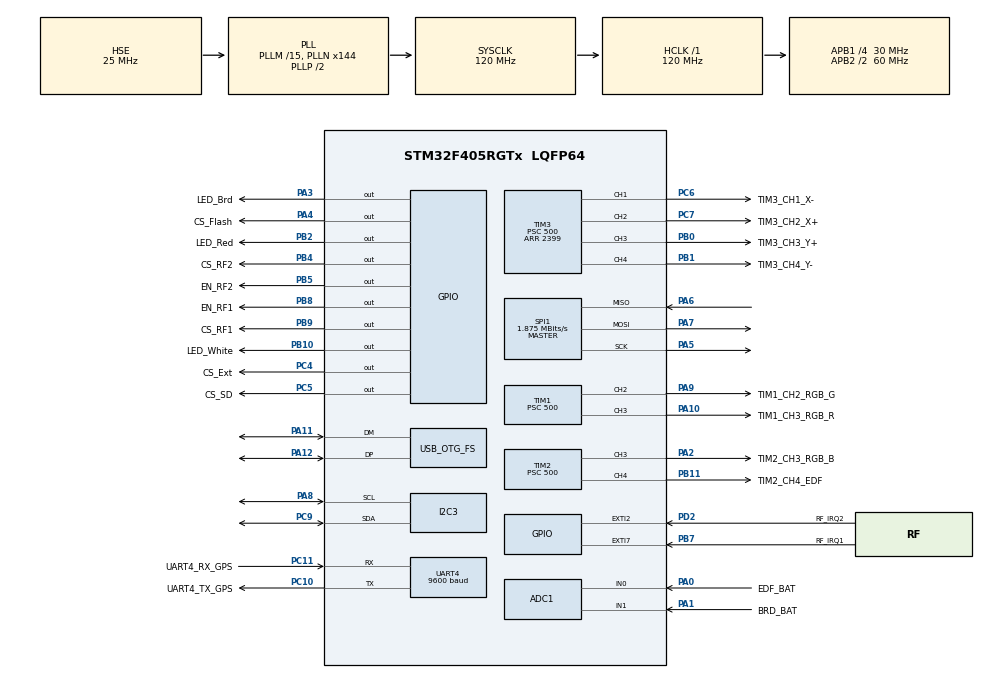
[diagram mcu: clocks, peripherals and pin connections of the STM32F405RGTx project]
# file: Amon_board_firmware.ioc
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ADC1.Channel-2\#ChannelRegularConversion=ADC_CHANNEL_0
ADC1.Channel-3\#ChannelRegularConversion=ADC_CHANNEL_1
ADC1.ClockPrescaler=ADC_CLOCK_SYNC_PCLK_DIV8
ADC1.ContinuousConvMode=ENABLE
ADC1.NbrOfConversion=2
ADC1.NbrOfConversionFlag=1
ADC1.Rank-2\#ChannelRegularConversion=1
ADC1.Rank-3\#ChannelRegularConversion=2
ADC1.SamplingTime-2\#ChannelRegularConversion=ADC_SAMPLETIME_3CYCLES
ADC1.SamplingTime-3\#ChannelRegularConversion=ADC_SAMPLETIME_3CYCLES
ADC1.master=1
Dma.ADC1.0.Direction=DMA_PERIPH_TO_MEMORY
Dma.ADC1.0.FIFOMode=DMA_FIFOMODE_DISABLE
Dma.ADC1.0.Instance=DMA2_Stream0
Dma.ADC1.0.MemDataAlignment=DMA_MDATAALIGN_WORD
Dma.ADC1.0.MemInc=DMA_MINC_ENABLE
Dma.ADC1.0.Mode=DMA_CIRCULAR
Dma.ADC1.0.PeriphDataAlignment=DMA_PDATAALIGN_WORD
Dma.ADC1.0.PeriphInc=DMA_PINC_DISABLE
Dma.ADC1.0.Priority=DMA_PRIORITY_LOW
Dma.Request0=ADC1
Dma.Request1=UART4_RX
Dma.UART4_RX.1.Direction=DMA_PERIPH_TO_MEMORY
Dma.UART4_RX.1.FIFOMode=DMA_FIFOMODE_DISABLE
Dma.UART4_RX.1.Instance=DMA1_Stream2
Dma.UART4_RX.1.MemDataAlignment=DMA_MDATAALIGN_BYTE
Dma.UART4_RX.1.MemInc=DMA_MINC_ENABLE
Dma.UART4_RX.1.Mode=DMA_NORMAL
Dma.UART4_RX.1.PeriphDataAlignment=DMA_PDATAALIGN_BYTE
Dma.UART4_RX.1.PeriphInc=DMA_PINC_DISABLE
Dma.UART4_RX.1.Priority=DMA_PRIORITY_LOW
Mcu.Family=STM32F4
Mcu.Name=STM32F405RGTx
Mcu.Package=LQFP64
NVIC.DMA1_Stream2_IRQn=true\:0\:0\:false\:false\:true\:false\:true\:true
NVIC.DMA2_Stream0_IRQn=true\:0\:0\:false\:false\:true\:false\:true\:true
NVIC.EXTI9_5_IRQn=true\:4\:0\:true\:false\:true\:true\:true\:true
NVIC.OTG_FS_IRQn=true\:4\:0\:true\:false\:true\:false\:true\:true
NVIC.PriorityGroup=NVIC_PRIORITYGROUP_4
NVIC.TIM4_IRQn=true\:1\:0\:true\:false\:true\:true\:true\:true
NVIC.TIM5_IRQn=true\:0\:0\:false\:false\:true\:true\:true\:true
NVIC.UART4_IRQn=true\:2\:0\:true\:false\:true\:true\:true\:true
PA0-WKUP.GPIO_Label=EDF_BAT
PA0-WKUP.Signal=ADCx_IN0
PA1.GPIO_Label=BRD_BAT
PA1.Signal=ADCx_IN1
PA10.GPIO_Label=TIM1_CH3_RGB_R
PA10.Signal=S_TIM1_CH3
PA11.Mode=Device_Only
PA11.Signal=USB_OTG_FS_DM
PA12.Mode=Device_Only
PA12.Signal=USB_OTG_FS_DP
PA13.Mode=Trace_Asynchronous_SW
PA13.Signal=SYS_JTMS-SWDIO
PA14.Mode=Trace_Asynchronous_SW
PA14.Signal=SYS_JTCK-SWCLK
PA2.GPIO_Label=TIM2_CH3_RGB_B
PA2.Signal=S_TIM2_CH3
PA3.GPIO_Label=LED_Brd
PA3.Signal=GPIO_Output
PA4.GPIO_Label=CS_Flash
PA4.Signal=GPIO_Output
PA5.Mode=Full_Duplex_Master
PA5.Signal=SPI1_SCK
PA6.Mode=Full_Duplex_Master
PA6.Signal=SPI1_MISO
PA7.Mode=Full_Duplex_Master
PA7.Signal=SPI1_MOSI
PA8.Mode=I2C
PA8.Signal=I2C3_SCL
PA9.GPIO_Label=TIM1_CH2_RGB_G
PA9.Signal=S_TIM1_CH2
PB0.GPIO_Label=TIM3_CH3_Y+
PB0.Signal=S_TIM3_CH3
PB1.GPIO_Label=TIM3_CH4_Y-
PB1.Signal=S_TIM3_CH4
PB10.GPIO_Label=LED_White
PB10.Signal=GPIO_Output
PB11.GPIO_Label=TIM2_CH4_EDF
PB11.Signal=S_TIM2_CH4
PB2.GPIO_Label=LED_Red
PB2.Signal=GPIO_Output
PB3.Mode=Trace_Asynchronous_SW
PB3.Signal=SYS_JTDO-SWO
PB4.GPIO_Label=CS_RF2
PB4.Signal=GPIO_Output
PB5.GPIO_Label=EN_RF2
PB5.Signal=GPIO_Output
PB7.GPIO_Label=RF_IRQ1
PB7.GPIO_ModeDefaultEXTI=GPIO_MODE_IT_RISING
PB7.Signal=GPXTI7
PB8.GPIO_Label=EN_RF1
PB8.Signal=GPIO_Output
PB9.GPIO_Label=CS_RF1
PB9.Signal=GPIO_Output
PC10.GPIO_Label=UART4_TX_GPS
PC10.Mode=Asynchronous
PC10.Signal=UART4_TX
PC11.GPIO_Label=UART4_RX_GPS
PC11.Mode=Asynchronous
PC11.Signal=UART4_RX
PC4.GPIO_Label=CS_Ext
PC4.Signal=GPIO_Output
PC5.GPIO_Label=CS_SD
PC5.Signal=GPIO_Output
PC6.GPIO_Label=TIM3_CH1_X-
PC6.Signal=S_TIM3_CH1
PC7.GPIO_Label=TIM3_CH2_X+
PC7.Signal=S_TIM3_CH2
PC9.Mode=I2C
PC9.Signal=I2C3_SDA
PD2.GPIO_Label=RF_IRQ2
PD2.Signal=GPXTI2
PH0-OSC_IN.Mode=HSE-External-Oscillator
PH0-OSC_IN.Signal=RCC_OSC_IN
PH1-OSC_OUT.Mode=HSE-External-Oscillator
PH1-OSC_OUT.Signal=RCC_OSC_OUT
ProjectManager.HeapSize=0x200
ProjectManager.StackSize=0x400
ProjectManager.TargetToolchain=STM32CubeIDE
RCC.48MHZClocksFreq_Value=48000000
RCC.AHBFreq_Value=120000000
RCC.APB1CLKDivider=RCC_HCLK_DIV4
RCC.APB1Freq_Value=30000000
RCC.APB1TimFreq_Value=60000000
RCC.APB2CLKDivider=RCC_HCLK_DIV2
RCC.APB2Freq_Value=60000000
RCC.APB2TimFreq_Value=120000000
RCC.CortexFreq_Value=120000000
RCC.HCLKFreq_Value=120000000
RCC.HSE_VALUE=25000000
RCC.HSI_VALUE=16000000
RCC.LSE_VALUE=32768
RCC.PLLM=15
RCC.PLLN=144
RCC.PLLQ=5
RCC.SYSCLKFreq_VALUE=120000000
RCC.SYSCLKSource=RCC_SYSCLKSOURCE_PLLCLK
RCC.VCOOutputFreq_Value=240000000
SH.ADCx_IN0.0=ADC1_IN0,IN0
SH.ADCx_IN1.0=ADC1_IN1,IN1
SH.S_TIM1_CH2.0=TIM1_CH2,PWM Generation2 CH2
SH.S_TIM1_CH3.0=TIM1_CH3,PWM Generation3 CH3
SH.S_TIM2_CH3.0=TIM2_CH3,PWM Generation3 CH3
SH.S_TIM2_CH4.0=TIM2_CH4,PWM Generation4 CH4
SH.S_TIM3_CH1.0=TIM3_CH1,PWM Generation1 CH1
SH.S_TIM3_CH2.0=TIM3_CH2,PWM Generation2 CH2
SH.S_TIM3_CH3.0=TIM3_CH3,PWM Generation3 CH3
SH.S_TIM3_CH4.0=TIM3_CH4,PWM Generation4 CH4
SPI1.BaudRatePrescaler=SPI_BAUDRATEPRESCALER_32
SPI1.CalculateBaudRate=1.875 MBits/s
SPI1.Direction=SPI_DIRECTION_2LINES
SPI1.Mode=SPI_MODE_MASTER
SPI1.VirtualType=VM_MASTER
TIM1.AutoReloadPreload=TIM_AUTORELOAD_PRELOAD_ENABLE
TIM1.Channel-PWM\ Generation2\ CH2=TIM_CHANNEL_2
TIM1.Channel-PWM\ Generation3\ CH3=TIM_CHANNEL_3
TIM1.OCPolarity_2=TIM_OCPOLARITY_LOW
TIM1.OCPolarity_3=TIM_OCPOLARITY_LOW
TIM1.Period=2399
TIM1.Prescaler=500
TIM2.AutoReloadPreload=TIM_AUTORELOAD_PRELOAD_ENABLE
TIM2.Channel-PWM\ Generation3\ CH3=TIM_CHANNEL_3
TIM2.Channel-PWM\ Generation4\ CH4=TIM_CHANNEL_4
TIM2.OCPolarity_3=TIM_OCPOLARITY_LOW
TIM2.Period=2399
TIM2.Prescaler=500
TIM3.AutoReloadPreload=TIM_AUTORELOAD_PRELOAD_ENABLE
TIM3.Channel-PWM\ Generation1\ CH1=TIM_CHANNEL_1
TIM3.Channel-PWM\ Generation2\ CH2=TIM_CHANNEL_2
TIM3.Channel-PWM\ Generation3\ CH3=TIM_CHANNEL_3
TIM3.Channel-PWM\ Generation4\ CH4=TIM_CHANNEL_4
TIM3.Period=2399
TIM3.Prescaler=500
TIM4.AutoReloadPreload=TIM_AUTORELOAD_PRELOAD_ENABLE
TIM4.Period=2399
TIM4.Prescaler=500
TIM5.AutoReloadPreload=TIM_AUTORELOAD_PRELOAD_ENABLE
TIM5.Period=600
TIM5.Prescaler=500
TIM6.AutoReloadPreload=TIM_AUTORELOAD_PRELOAD_ENABLE
TIM6.Period=6000
TIM6.Prescaler=10000
UART4.BaudRate=9600
UART4.Mode=MODE_TX_RX
UART4.VirtualMode=Asynchronous
USB_DEVICE.CLASS_NAME_FS=CDC
USB_DEVICE.USBD_DEBUG_LEVEL-CDC_FS=3
USB_DEVICE.VirtualMode-CDC_FS=Cdc
USB_DEVICE.VirtualModeFS=Cdc_FS
USB_OTG_FS.VirtualMode=Device_Only
VP_FATFS_VS_Generic.Mode=User_defined
VP_TIM1_VS_ClockSourceINT.Mode=Internal
VP_TIM2_VS_ClockSourceINT.Mode=Internal
VP_TIM3_VS_ClockSourceINT.Mode=Internal
VP_TIM4_VS_ClockSourceINT.Mode=Internal
VP_TIM5_VS_ClockSourceINT.Mode=Internal
VP_TIM6_VS_ClockSourceINT.Mode=Enable_Timer
VP_USB_DEVICE_VS_USB_DEVICE_CDC_FS.Mode=CDC_FS
board=custom

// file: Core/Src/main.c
/* USER CODE BEGIN Header */
/**
  ******************************************************************************
  * @file           : main.c
  * @brief          : Main program body
  ******************************************************************************
  * @attention
  *
  * Copyright (c) 2022 STMicroelectronics.
  * All rights reserved.
  *
  * This software is licensed under terms that can be found in the LICENSE file
  * in the root directory of this software component.
  * If no LICENSE file comes with this software, it is provided AS-IS.
  *
  ******************************************************************************
  */
/* USER CODE END Header */
#include "main.h"
#include "fatfs.h"
#include "usb_device.h"

/* USER CODE BEGIN Includes */
//#include "usbd_cdc_if.h"

/* USER CODE END Includes */

ADC_HandleTypeDef hadc1;
DMA_HandleTypeDef hdma_adc1;

I2C_HandleTypeDef hi2c3;

SPI_HandleTypeDef hspi1;

TIM_HandleTypeDef htim1;
TIM_HandleTypeDef htim2;
TIM_HandleTypeDef htim3;
TIM_HandleTypeDef htim4;
TIM_HandleTypeDef htim5;
TIM_HandleTypeDef htim6;

UART_HandleTypeDef huart4;
DMA_HandleTypeDef hdma_uart4_rx;

void SystemClock_Config(void);
static void MX_GPIO_Init(void);
static void MX_DMA_Init(void);
static void MX_ADC1_Init(void);
static void MX_SPI1_Init(void);
static void MX_UART4_Init(void);
static void MX_TIM3_Init(void);
static void MX_I2C3_Init(void);
static void MX_TIM2_Init(void);
static void MX_TIM1_Init(void);
static void MX_TIM4_Init(void);
static void MX_TIM5_Init(void);
static void MX_TIM6_Init(void);

/* USER CODE BEGIN 0 */

/* Functions init */
uint16_t ADC_Read_Main_Battery();
uint16_t ADC_Read_EDF_Battery();
uint8_t TVCServoEnable();
uint8_t TVCServoDisable();
uint8_t EDFEnable();
uint8_t EDFDisable();
void StatusLED(uint8_t Status);

/* Variables */
uint8_t DroneStatusLocal = 0;
uint8_t DroneStatusOld = 20;
uint8_t StartupInit = 0;
uint8_t InitError = 0;

uint8_t LED_blink_cnt_ON;
uint8_t LED_blink_cnt_double;
uint8_t LED_blink_cnt_OFF;

uint8_t TVCServoEnableFlag = 0;
uint8_t EDFEnableFlag = 0;

uint8_t RF_IRQ1_EN = 0;			// flag to enable irq code
uint8_t RF_IRQ2_EN = 0;			// flag to enable irq code

float PitchDef[20] = {0};		// Default values for calculating angle before flight
float RollDef[20] = {0};
uint8_t MeassCnt = 0;			// counting measurements

// Gyroscope calibration
uint8_t GyroCalibTrig = 0;
uint16_t RGB_Red = 0;
uint16_t RGB_Green = 300;
uint16_t RGB_Blue = 600;
uint16_t RGB_RedMax = 0;
uint16_t RGB_GreenMax = 0;
uint16_t RGB_BlueMax = 0;

// Battery data
uint8_t ADC_DMA_DataRdy = 0;
uint32_t ADC_BAT_Val[2] = {};

// GPS data
uint8_t USART4_GPSRX[426] = {"\0"};
uint8_t NewGPSData = 0;

// Timers IRQ enable flag
uint8_t Reg1HzLoopEN = 0;
uint8_t Reg50HzLoopEN = 0;
uint8_t Reg200HzLoopEN = 0;

/* USER CODE END 0 */

int main(void)
{

  /* MCU Configuration--------------------------------------------------------*/

  /* Reset of all peripherals, Initializes the Flash interface and the Systick. */
  HAL_Init();

  /* Configure the system clock */
  SystemClock_Config();

  /* Initialize all configured peripherals */
  MX_GPIO_Init();
  MX_DMA_Init();
  MX_ADC1_Init();
  MX_SPI1_Init();
  MX_UART4_Init();
  MX_TIM3_Init();
  MX_I2C3_Init();
  MX_TIM2_Init();
  MX_TIM1_Init();
  MX_TIM4_Init();
  MX_USB_DEVICE_Init();
  MX_TIM5_Init();
  MX_FATFS_Init();
  MX_TIM6_Init();
  /* USER CODE BEGIN 2 */

  /* STRUCTS */
  MPU6050 mpu6050; // Temp, Press, Hum
  BME280 bme280; // Gyro

  AMON_Drone AmonDrone; // All drone data

  // Decoded GPS data for each type of packet
  GPS_GGA gps_gga;
  GPS_GLL gps_gll;
  GPS_GSA gps_gsa;
  GPS_GSV gps_gsv;
  GPS_RMC gps_rmc;
  GPS_VTG gps_vtg;

  VL53L1_DEV vl53l1Dev; // Lidar
  //VL53L1X_Version_t vl53l1xVersion_t; // Lidar - unused
  //VL53L1X_Result_t vl53l1xResult_t; // Lidar - unused

  /* Variables */

  // Init
  AmonDrone.DroneStatus = 0;
  AmonDrone.PitchOld = 0;
  AmonDrone.RollOld = 0;

  /* USER CODE END 2 */

  /* Infinite loop */
  /* USER CODE BEGIN WHILE */
  while (1)
  {

	  // Changing values when changing status
	  if (AmonDrone.DroneStatus != DroneStatusOld && CALIBRATION == 0)
	  {
		  DroneStatusOld = AmonDrone.DroneStatus;
		  DroneStatusLocal = AmonDrone.DroneStatus;
		  StatusLED(AmonDrone.DroneStatus);
	  }

	  // RGB cycling when calibrating
	  if (CALIBRATION == 1)
	  {
		  AmonDrone.DroneStatus = STATUS_GYRO_CALIB;
		  DroneStatusLocal = AmonDrone.DroneStatus;
	  }

	  /****************************
	   * INIT  SEQUENCE
	   ****************************/

	  if (StartupInit == STATUS_STARTUP)
	  {

		//AmonDrone.DroneStatus = STATUS_STARTUP;
		uint8_t status = 0;

		/* Aligne all motors */
		TVCServoEnable();
		DegresToCCR(90.0 + SERVO_XN_OFFSET, SERVO_XN);
		DegresToCCR(90.0 + SERVO_XP_OFFSET, SERVO_XP);
		DegresToCCR(90.0 + SERVO_YN_OFFSET, SERVO_YN);
		DegresToCCR(90.0 + SERVO_YP_OFFSET, SERVO_YP);
		HAL_Delay(500); // wait on motors to stop mooving

		DegresToCCR(80.0 + SERVO_XN_OFFSET, SERVO_XN);
		DegresToCCR(80.0 + SERVO_XP_OFFSET, SERVO_XP);
		DegresToCCR(80.0 + SERVO_YN_OFFSET, SERVO_YN);
		DegresToCCR(80.0 + SERVO_YP_OFFSET, SERVO_YP);
		HAL_Delay(500); // wait on motors to stop mooving

		DegresToCCR(90.0 + SERVO_XN_OFFSET, SERVO_XN);
		DegresToCCR(90.0 + SERVO_XP_OFFSET, SERVO_XP);
		DegresToCCR(90.0 + SERVO_YN_OFFSET, SERVO_YN);
		DegresToCCR(90.0 + SERVO_YP_OFFSET, SERVO_YP);
		HAL_Delay(500); // wait on motors to stop mooving

		DegresToCCR(100.0 + SERVO_XN_OFFSET, SERVO_XN);
		DegresToCCR(100.0 + SERVO_XP_OFFSET, SERVO_XP);
		DegresToCCR(100.0 + SERVO_YN_OFFSET, SERVO_YN);
		DegresToCCR(100.0 + SERVO_YP_OFFSET, SERVO_YP);
		HAL_Delay(500); // wait on motors to stop mooving

		DegresToCCR(90.0 + SERVO_XN_OFFSET, SERVO_XN);
		DegresToCCR(90.0 + SERVO_XP_OFFSET, SERVO_XP);
		DegresToCCR(90.0 + SERVO_YN_OFFSET, SERVO_YN);
		DegresToCCR(90.0 + SERVO_YP_OFFSET, SERVO_YP);
		HAL_Delay(500); // wait on motors to stop mooving

		// Start timers for sensors and LEDs
		HAL_GPIO_WritePin(LED_Red_GPIO_Port, LED_Red_Pin, GPIO_PIN_SET);
		HAL_GPIO_WritePin(LED_Brd_GPIO_Port, LED_Brd_Pin, GPIO_PIN_RESET);
		HAL_TIM_PWM_Start(&htim1, TIM_CHANNEL_2); // RGB (50Hz)
		HAL_TIM_PWM_Start(&htim1, TIM_CHANNEL_3); // RGB (50Hz)
		HAL_TIM_PWM_Start(&htim2, TIM_CHANNEL_3); // RGB (50Hz)

		/* Read both batteries and save in drone data struct */
		HAL_ADC_Start_DMA(&hadc1, ADC_BAT_Val, 2); 		// Start ADC DMA (read analog value)

		while(ADC_DMA_DataRdy == 0){
			// white...
		}

		AmonDrone.MainBatVoltage = ADC_Read_Main_Battery();
		AmonDrone.EDFBatVoltage = ADC_Read_EDF_Battery();
		ADC_DMA_DataRdy = 0;

		if (AmonDrone.MainBatVoltage < 1000) status++; // check board battery voltage (more than XV)
		//if (AmonDrone.EDFBatVoltage < 2000) status++; // check board battery voltage (more than XV)

		HAL_Delay(500);

		/* Reset all devices */
		status += BME280_Reset(&bme280, &hi2c3);
		status += MPU6050_Reset(&mpu6050, &hi2c3);

		HAL_Delay(500); // delay sensors config to complete power on

		/* BME280 */
		status += BME280_ReadDeviceID(&bme280, &hi2c3);
		status += BME280_ReadCalibData(&bme280, &hi2c3);
		status += BME280_Init(&bme280, &hi2c3);

		/* MPU6050 */
		status += MPU6050_ReadDeviceID(&mpu6050, &hi2c3);
		status += MPU6050_ReadFactoryTrim(&mpu6050, &hi2c3);
		status += MPU6050_Init(&mpu6050, &hi2c3);
		status += MPU6050_ReadFactoryTrim(&mpu6050, &hi2c3);
		status += MPU6050_ReadAllDirect(&mpu6050, &hi2c3);
		status += MPU6050_SelfTest(&mpu6050, &hi2c3);

		/* vl53l1x */
		uint8_t bootOK = 0;
		status += VL53L1X_ReadID(&vl53l1Dev, &hi2c3);
		while (bootOK == 0)
		{
			status += VL53L1X_BootState(&vl53l1Dev, &hi2c3, &bootOK);
		}
		status += VL53L1X_SensorInit(&vl53l1Dev, &hi2c3);
		status += VL53L1X_SetTimingBudgetInMs(&vl53l1Dev, &hi2c3, 200); // 140ms is min for 4m distance
		status += VL53L1X_SetOffset(&vl53l1Dev, &hi2c3, -130); // Set height from ground to get zero
		VL53L1X_StartRanging(&vl53l1Dev, &hi2c3);

		HAL_TIM_Base_Start_IT(&htim4); // TVC LOOP, leg leds (50Hz)
		HAL_TIM_Base_Start_IT(&htim5); // Complementary Filter

		if (CALIBRATION == 0) HAL_UART_Receive_DMA(&huart4, USART4_GPSRX, 426); // Do not enable UART DMA if calibrating

		if (bme280.dig_T1 == 0 || bme280.dig_T2 == 0) // for WTF error
		{
			status++;
		}

		InitError = status;

		// Check if all init functionsa are OK
		if (InitError == 0) // OK
		{
			StartupInit = 1;
			AmonDrone.DroneStatus = STATUS_IDLE_NC;
		}
		else
		{
			StartupInit = 1;
			AmonDrone.DroneStatus = STATUS_ERROR; // ERROR
			HAL_GPIO_WritePin(LED_Brd_GPIO_Port, LED_Brd_Pin, GPIO_PIN_SET);
		}

	  }

	  /****************************
	   * SEQUENCE IDLE, ARM, FLY...
	   ****************************/

	  if (StartupInit != STATUS_STARTUP && AmonDrone.DroneStatus != STATUS_ERROR && CALIBRATION == 0)
	  {

		  /*** CURRENT DRONE STATUS ***/
		  switch(AmonDrone.DroneStatus){

		  /*/ Drone ideling but no connection with link /*/
		  case STATUS_IDLE_NC:

			  if (TVCServoEnableFlag == 1) TVCServoDisable();	// Disable TVC servos
			  if (EDFEnableFlag == 1) EDFDisable();				// Disable EDF

			  if (Reg200HzLoopEN == 1) // Timer 4
			  {
				  MPU6050_ReadAllDirect(&mpu6050, &hi2c3);	// read data from gyro
				  MPU6050_RawToDeg(&mpu6050, &AmonDrone); 	// calculate data to pitch and roll (and yaw)
				  Reg200HzLoopEN = 0;
			  }

			  if (Reg50HzLoopEN == 1)	// Timer 5
			  {
				  uint8_t dataRdy = 0;
				  while(dataRdy == 0)
				  {
					  VL53L1X_CheckForDataReady(&vl53l1Dev, &hi2c3, &dataRdy);
				  }
				  dataRdy = 0;
				  VL53L1X_GetDistance(&vl53l1Dev, &hi2c3, &AmonDrone.Height);
				  VL53L1X_ClearInterrupt(&vl53l1Dev, &hi2c3);
				  // Read other sensors
				  Reg50HzLoopEN = 0;
			  }

			  if (Reg1HzLoopEN == 1)	// Timer 6
			  {

				  Reg1HzLoopEN = 0;
			  }

			  if (NewGPSData == 1 && USE_GPS == 1){	// new gps data available -> decode
				  GPS_Decode_GGA(&USART4_GPSRX, &gps_gga, &AmonDrone);

				  NewGPSData = 0;
			  }

			  break;

		  /*/ Drone ideling and is connected with link /*/
		  case STATUS_IDLE_CN:

			  if (TVCServoEnableFlag == 1) TVCServoDisable();	// Disable TVC servos
			  if (EDFEnableFlag == 1) EDFDisable();				// Disable EDF

			  if (Reg200HzLoopEN == 1) // Timer 4
			  {
			  	  MPU6050_ReadAllDirect(&mpu6050, &hi2c3);
			  	  MPU6050_RawToDeg(&mpu6050, &AmonDrone); // calculate data to pitch and roll (and yaw)
			  	  Reg200HzLoopEN = 0;
			  }

			  if (Reg50HzLoopEN == 1)	// Timer 5
			  {
 				  uint8_t dataRdy = 0;
  				  while(dataRdy == 0)
  				  {
  					  VL53L1X_CheckForDataReady(&vl53l1Dev, &hi2c3, &dataRdy);
			  	  }
			  	  dataRdy = 0;
			  	  VL53L1X_GetDistance(&vl53l1Dev, &hi2c3, &AmonDrone.Height);
			  	  VL53L1X_ClearInterrupt(&vl53l1Dev, &hi2c3);
			  	// Read other sensors...
			  	  Reg50HzLoopEN = 0;
			  }

			  if (Reg1HzLoopEN == 1)	// Timer 6
			  {

				  Reg1HzLoopEN = 0;
			  }

			  if (NewGPSData == 1 && USE_GPS == 1){	// new gps data available -> decode

				  NewGPSData = 0;
			  }

			  break;

		  /*/ Drone is armed to take off /*/
		  case STATUS_ARM:

			  if (TVCServoEnableFlag == 0) TVCServoEnable();
			  if (EDFEnableFlag == 0) EDFEnable();

			  if (Reg200HzLoopEN == 1) // Timer 4
			  {
			  	  MPU6050_ReadAllDirect(&mpu6050, &hi2c3);
			  	  MPU6050_RawToDeg(&mpu6050, &AmonDrone); // calculate data to pitch and roll (and yaw)
			  	  Reg200HzLoopEN = 0;
			  }

			  if (Reg50HzLoopEN == 1)	// Timer 5
			  {

				  // Moving average for pitch and roll
				  if (MeassCnt == 20)
				  {
					  float PitchSum = 0;
					  float RollSum = 0;

					  for (int i = 0; i < 20; i++)
					  {
						  PitchSum += PitchDef[i];
						  RollSum += RollDef[i];
					  }

					  AmonDrone.PitchMean = PitchSum / 20;
					  AmonDrone.RollMean = RollSum / 20;

					  MeassCnt = 0; // reset if not used for new data
				  }

				  if (MeassCnt < 20)
				  {
					  PitchDef[MeassCnt] = AmonDrone.Pitch;
					  RollDef[MeassCnt] = AmonDrone.Roll;
					  MeassCnt++;
				  }

				  uint8_t dataRdy = 0;
				  while(dataRdy == 0)
				  {
					  VL53L1X_CheckForDataReady(&vl53l1Dev, &hi2c3, &dataRdy);
				  }
				  dataRdy = 0;
				  VL53L1X_GetDistance(&vl53l1Dev, &hi2c3, &AmonDrone.Height);
				  VL53L1X_ClearInterrupt(&vl53l1Dev, &hi2c3);
				  // Read other sensors...

				  Reg50HzLoopEN = 0;
			  }

			  if (Reg1HzLoopEN == 1)	// Timer 6
			  {

				  Reg1HzLoopEN = 0;
			  }

			  if (NewGPSData == 1 && USE_GPS == 1){	// new gps data available -> decode

				  NewGPSData = 0;
			  }

			  break;

		  /*/ Flying /*/
		  case STATUS_FLY:

			  DegresToCCR(90.0f + AmonDrone.Pitch + (AmonDrone.PitchMean) + SERVO_XN_OFFSET, SERVO_XN);
			  DegresToCCR(90.0f - AmonDrone.Pitch + (AmonDrone.PitchMean) + SERVO_XP_OFFSET, SERVO_XP);
			  DegresToCCR(90.0f - AmonDrone.Roll + (AmonDrone.RollMean) + SERVO_YN_OFFSET, SERVO_YN);
			  DegresToCCR(90.0f + AmonDrone.Roll + (AmonDrone.RollMean) + SERVO_YP_OFFSET, SERVO_YP);

			  break;

		  /*/ Dron landed (after flying) /*/
		  case STATUS_FLY_OVER:

			  if (TVCServoEnableFlag == 1) TVCServoDisable();
			  if (EDFEnableFlag == 1) EDFDisable();

			  if (Reg200HzLoopEN == 1) // Timer 4
			  {
				  MPU6050_ReadAllDirect(&mpu6050, &hi2c3);
			  	  MPU6050_RawToDeg(&mpu6050, &AmonDrone); // calculate data to pitch and roll (and yaw)
			  	  Reg200HzLoopEN = 0;
			  }

			  if (Reg50HzLoopEN == 1)	// Timer 5
			  {
 				  uint8_t dataRdy = 0;
  				  while(dataRdy == 0)
  				  {
  					  VL53L1X_CheckForDataReady(&vl53l1Dev, &hi2c3, &dataRdy);
  				  }
  				  dataRdy = 0;
 				  VL53L1X_GetDistance(&vl53l1Dev, &hi2c3, &AmonDrone.Height);
  				  VL53L1X_ClearInterrupt(&vl53l1Dev, &hi2c3);
 				  // Read other sensors...
  				  // save to sd...
  				  Reg50HzLoopEN = 0;
			  }

			  if (Reg1HzLoopEN == 1)	// Timer 6
			  {

				  Reg1HzLoopEN = 0;
			  }

			  if (NewGPSData == 1 && USE_GPS == 1){	// new gps data available -> decode

				  NewGPSData = 0;
			  }
			  break;

		  /*/ Wrong state /*/
		  default:
			  AmonDrone.DroneStatus = STATUS_ERROR;
			  TVCServoDisable();
			  EDFDisable();
			  break;
		  }
	  }

	  /* ********* GYROSCOPE Calibration *********
	   * Before using gyroscope is necessary to set right offset values for all three accelerometers.
	   * This is set in MPU6050.h file (#define X_ACCEL_OFFSET, X_ACCEL_OFFSET, X_ACCEL_OFFSET)
	   * To get these values change CALIBRATION value to 1 and reupload code on board
	   * Disconnect everything from the board and unmount it from drone.
	   * On GPS port connect FTDI module to read UART communication. DO NOT CONNECT POWER PIN (3.3V) IF YOU ARE PLANNING TO POWER THE BOARD FROM BATTERY !!!
	   * Open serial port on PC and connect to FTDI. After initialization the dron will start to read data from gyroscope and send it over UART.
	   * Rotate board in all three directions (flat, vertical and sideways) at 90deg. In every position the one value will be around 1.
	   * The difference value and 1 is the offset value. Enter that value in firmware as offset.
	   * Change GYRO_CALIB back to 0, reupload code and mount board bact to drone
	   */

	  if (CALIBRATION == 1 )
	  {
		  StatusLED(AmonDrone.DroneStatus);

		  if (Reg200HzLoopEN == 1 && (CAL_GYRO_X == 1 || CAL_GYRO_Y == 1 || CAL_GYRO_Z == 1 || CAL_ACCEL_X == 1 || CAL_ACCEL_Y == 1 || CAL_ACCEL_Z == 1)){

			  MPU6050_ReadAllDirect(&mpu6050, &hi2c3); // Read all raw data from sensor
		  	  MPU6050_RawToDeg(&mpu6050, &AmonDrone); // calculate data to pitch and roll (and yaw)

		  	  Reg200HzLoopEN = 0;
		  }

		  if (Reg50HzLoopEN == 1 && CAL_LIDAR == 1){

			  uint8_t dataRdy = 0;
			  while(dataRdy == 0){
				  VL53L1X_CheckForDataReady(&vl53l1Dev, &hi2c3, &dataRdy);
			  }
			  dataRdy = 0;
			  VL53L1X_GetDistance(&vl53l1Dev, &hi2c3, &AmonDrone.Height);
			  VL53L1X_ClearInterrupt(&vl53l1Dev, &hi2c3);

			  Reg50HzLoopEN = 0;
		  }

		  if (GyroCalibTrig == 1){

			  // Print data
			  char message[50] = {'\0'};

			  if (CAL_ACCEL_X == 1 || CAL_ACCEL_Y == 1 || CAL_ACCEL_Z == 1) sprintf((char *)message, "Accel X = %.3f , Y = %.3f, Z = %.3f\r\n", mpu6050.ACCEL_X, mpu6050.ACCEL_Y, mpu6050.ACCEL_Z);

			  if (CAL_GYRO_X == 1 || CAL_GYRO_Y == 1 || CAL_GYRO_Z == 1) sprintf((char *)message, "Gyro X = %.3f , Y = %.3f, Z = %.3f\r\n", mpu6050.GYRO_X, mpu6050.GYRO_Y, mpu6050.GYRO_Z);

		  	  if (CAL_PITCH == 1 && CAL_ROLL == 1) sprintf((char *)message, "Pitch = %.3f, Roll = %.3f\r\n", AmonDrone.Pitch, AmonDrone.Roll);

		  	  if (CAL_ROLL == 1) sprintf((char *)message, "Roll = %.3f\r\n", AmonDrone.Roll);

		  	  if (CAL_PITCH == 1) sprintf((char *)message, "Pitch = %.3f\r\n", AmonDrone.Pitch);

		  	  if (CAL_LIDAR == 1) sprintf((char *)message, "Height = %dmm\r\n", AmonDrone.Height);

	  	  	  HAL_UART_Transmit(&huart4, (uint8_t*)message, strlen((char*)message), 100);

	  	  	  GyroCalibTrig = 0;

		  }
	  }

    /* USER CODE END WHILE */

  }
}

void SystemClock_Config(void)
{
  RCC_OscInitTypeDef RCC_OscInitStruct = {0};
  RCC_ClkInitTypeDef RCC_ClkInitStruct = {0};

  /** Configure the main internal regulator output voltage
  */
  __HAL_RCC_PWR_CLK_ENABLE();
  __HAL_PWR_VOLTAGESCALING_CONFIG(PWR_REGULATOR_VOLTAGE_SCALE1);

  /** Initializes the RCC Oscillators according to the specified parameters
  * in the RCC_OscInitTypeDef structure.
  */
  RCC_OscInitStruct.OscillatorType = RCC_OSCILLATORTYPE_HSE;
  RCC_OscInitStruct.HSEState = RCC_HSE_ON;
  RCC_OscInitStruct.PLL.PLLState = RCC_PLL_ON;
  RCC_OscInitStruct.PLL.PLLSource = RCC_PLLSOURCE_HSE;
  RCC_OscInitStruct.PLL.PLLM = 15;
  RCC_OscInitStruct.PLL.PLLN = 144;
  RCC_OscInitStruct.PLL.PLLP = RCC_PLLP_DIV2;
  RCC_OscInitStruct.PLL.PLLQ = 5;
  if (HAL_RCC_OscConfig(&RCC_OscInitStruct) != HAL_OK)
  {
    Error_Handler();
  }

  /** Initializes the CPU, AHB and APB buses clocks
  */
  RCC_ClkInitStruct.ClockType = RCC_CLOCKTYPE_HCLK|RCC_CLOCKTYPE_SYSCLK
                              |RCC_CLOCKTYPE_PCLK1|RCC_CLOCKTYPE_PCLK2;
  RCC_ClkInitStruct.SYSCLKSource = RCC_SYSCLKSOURCE_PLLCLK;
  RCC_ClkInitStruct.AHBCLKDivider = RCC_SYSCLK_DIV1;
  RCC_ClkInitStruct.APB1CLKDivider = RCC_HCLK_DIV4;
  RCC_ClkInitStruct.APB2CLKDivider = RCC_HCLK_DIV2;

  if (HAL_RCC_ClockConfig(&RCC_ClkInitStruct, FLASH_LATENCY_3) != HAL_OK)
  {
    Error_Handler();
  }
}

static void MX_ADC1_Init(void)
{

  ADC_ChannelConfTypeDef sConfig = {0};

  /** Configure the global features of the ADC (Clock, Resolution, Data Alignment and number of conversion)
  */
  hadc1.Instance = ADC1;
  hadc1.Init.ClockPrescaler = ADC_CLOCK_SYNC_PCLK_DIV8;
  hadc1.Init.Resolution = ADC_RESOLUTION_12B;
  hadc1.Init.ScanConvMode = ENABLE;
  hadc1.Init.ContinuousConvMode = ENABLE;
  hadc1.Init.DiscontinuousConvMode = DISABLE;
  hadc1.Init.ExternalTrigConvEdge = ADC_EXTERNALTRIGCONVEDGE_NONE;
  hadc1.Init.ExternalTrigConv = ADC_SOFTWARE_START;
  hadc1.Init.DataAlign = ADC_DATAALIGN_RIGHT;
  hadc1.Init.NbrOfConversion = 2;
  hadc1.Init.DMAContinuousRequests = DISABLE;
  hadc1.Init.EOCSelection = ADC_EOC_SINGLE_CONV;
  if (HAL_ADC_Init(&hadc1) != HAL_OK)
  {
    Error_Handler();
  }

  /** Configure for the selected ADC regular channel its corresponding rank in the sequencer and its sample time.
  */
  sConfig.Channel = ADC_CHANNEL_0;
  sConfig.Rank = 1;
  sConfig.SamplingTime = ADC_SAMPLETIME_3CYCLES;
  if (HAL_ADC_ConfigChannel(&hadc1, &sConfig) != HAL_OK)
  {
    Error_Handler();
  }

  /** Configure for the selected ADC regular channel its corresponding rank in the sequencer and its sample time.
  */
  sConfig.Channel = ADC_CHANNEL_1;
  sConfig.Rank = 2;
  if (HAL_ADC_ConfigChannel(&hadc1, &sConfig) != HAL_OK)
  {
    Error_Handler();
  }

}

static void MX_I2C3_Init(void)
{

  hi2c3.Instance = I2C3;
  hi2c3.Init.ClockSpeed = 100000;
  hi2c3.Init.DutyCycle = I2C_DUTYCYCLE_2;
  hi2c3.Init.OwnAddress1 = 0;
  hi2c3.Init.AddressingMode = I2C_ADDRESSINGMODE_7BIT;
  hi2c3.Init.DualAddressMode = I2C_DUALADDRESS_DISABLE;
  hi2c3.Init.OwnAddress2 = 0;
  hi2c3.Init.GeneralCallMode = I2C_GENERALCALL_DISABLE;
  hi2c3.Init.NoStretchMode = I2C_NOSTRETCH_DISABLE;
  if (HAL_I2C_Init(&hi2c3) != HAL_OK)
  {
    Error_Handler();
  }

}

static void MX_SPI1_Init(void)
{

  /* SPI1 parameter configuration*/
  hspi1.Instance = SPI1;
  hspi1.Init.Mode = SPI_MODE_MASTER;
  hspi1.Init.Direction = SPI_DIRECTION_2LINES;
  hspi1.Init.DataSize = SPI_DATASIZE_8BIT;
  hspi1.Init.CLKPolarity = SPI_POLARITY_LOW;
  hspi1.Init.CLKPhase = SPI_PHASE_1EDGE;
  hspi1.Init.NSS = SPI_NSS_SOFT;
  hspi1.Init.BaudRatePrescaler = SPI_BAUDRATEPRESCALER_32;
  hspi1.Init.FirstBit = SPI_FIRSTBIT_MSB;
  hspi1.Init.TIMode = SPI_TIMODE_DISABLE;
  hspi1.Init.CRCCalculation = SPI_CRCCALCULATION_DISABLE;
  hspi1.Init.CRCPolynomial = 10;
  if (HAL_SPI_Init(&hspi1) != HAL_OK)
  {
    Error_Handler();
  }

}

static void MX_TIM1_Init(void)
{

  TIM_ClockConfigTypeDef sClockSourceConfig = {0};
  TIM_MasterConfigTypeDef sMasterConfig = {0};
  TIM_OC_InitTypeDef sConfigOC = {0};
  TIM_BreakDeadTimeConfigTypeDef sBreakDeadTimeConfig = {0};

  htim1.Instance = TIM1;
  htim1.Init.Prescaler = 500;
  htim1.Init.CounterMode = TIM_COUNTERMODE_UP;
  htim1.Init.Period = 2399;
  htim1.Init.ClockDivision = TIM_CLOCKDIVISION_DIV1;
  htim1.Init.RepetitionCounter = 0;
  htim1.Init.AutoReloadPreload = TIM_AUTORELOAD_PRELOAD_ENABLE;
  if (HAL_TIM_Base_Init(&htim1) != HAL_OK)
  {
    Error_Handler();
  }
  sClockSourceConfig.ClockSource = TIM_CLOCKSOURCE_INTERNAL;
  if (HAL_TIM_ConfigClockSource(&htim1, &sClockSourceConfig) != HAL_OK)
  {
    Error_Handler();
  }
  if (HAL_TIM_PWM_Init(&htim1) != HAL_OK)
  {
    Error_Handler();
  }
  sMasterConfig.MasterOutputTrigger = TIM_TRGO_RESET;
  sMasterConfig.MasterSlaveMode = TIM_MASTERSLAVEMODE_DISABLE;
  if (HAL_TIMEx_MasterConfigSynchronization(&htim1, &sMasterConfig) != HAL_OK)
  {
    Error_Handler();
  }
  sConfigOC.OCMode = TIM_OCMODE_PWM1;
  sConfigOC.Pulse = 0;
  sConfigOC.OCPolarity = TIM_OCPOLARITY_LOW;
  sConfigOC.OCNPolarity = TIM_OCNPOLARITY_HIGH;
  sConfigOC.OCFastMode = TIM_OCFAST_DISABLE;
  sConfigOC.OCIdleState = TIM_OCIDLESTATE_RESET;
  sConfigOC.OCNIdleState = TIM_OCNIDLESTATE_RESET;
  if (HAL_TIM_PWM_ConfigChannel(&htim1, &sConfigOC, TIM_CHANNEL_2) != HAL_OK)
  {
    Error_Handler();
  }
  if (HAL_TIM_PWM_ConfigChannel(&htim1, &sConfigOC, TIM_CHANNEL_3) != HAL_OK)
  {
    Error_Handler();
  }
  sBreakDeadTimeConfig.OffStateRunMode = TIM_OSSR_DISABLE;
  sBreakDeadTimeConfig.OffStateIDLEMode = TIM_OSSI_DISABLE;
  sBreakDeadTimeConfig.LockLevel = TIM_LOCKLEVEL_OFF;
  sBreakDeadTimeConfig.DeadTime = 0;
  sBreakDeadTimeConfig.BreakState = TIM_BREAK_DISABLE;
  sBreakDeadTimeConfig.BreakPolarity = TIM_BREAKPOLARITY_HIGH;
  sBreakDeadTimeConfig.AutomaticOutput = TIM_AUTOMATICOUTPUT_DISABLE;
  if (HAL_TIMEx_ConfigBreakDeadTime(&htim1, &sBreakDeadTimeConfig) != HAL_OK)
  {
    Error_Handler();
  }
  HAL_TIM_MspPostInit(&htim1);

}

static void MX_TIM2_Init(void)
{

  TIM_ClockConfigTypeDef sClockSourceConfig = {0};
  TIM_MasterConfigTypeDef sMasterConfig = {0};
  TIM_OC_InitTypeDef sConfigOC = {0};

  htim2.Instance = TIM2;
  htim2.Init.Prescaler = 500;
  htim2.Init.CounterMode = TIM_COUNTERMODE_UP;
  htim2.Init.Period = 2399;
  htim2.Init.ClockDivision = TIM_CLOCKDIVISION_DIV1;
  htim2.Init.AutoReloadPreload = TIM_AUTORELOAD_PRELOAD_ENABLE;
  if (HAL_TIM_Base_Init(&htim2) != HAL_OK)
  {
    Error_Handler();
  }
  sClockSourceConfig.ClockSource = TIM_CLOCKSOURCE_INTERNAL;
  if (HAL_TIM_ConfigClockSource(&htim2, &sClockSourceConfig) != HAL_OK)
  {
    Error_Handler();
  }
  if (HAL_TIM_PWM_Init(&htim2) != HAL_OK)
  {
    Error_Handler();
  }
  sMasterConfig.MasterOutputTrigger = TIM_TRGO_RESET;
  sMasterConfig.MasterSlaveMode = TIM_MASTERSLAVEMODE_DISABLE;
  if (HAL_TIMEx_MasterConfigSynchronization(&htim2, &sMasterConfig) != HAL_OK)
  {
    Error_Handler();
  }
  sConfigOC.OCMode = TIM_OCMODE_PWM1;
  sConfigOC.Pulse = 0;
  sConfigOC.OCPolarity = TIM_OCPOLARITY_LOW;
  sConfigOC.OCFastMode = TIM_OCFAST_DISABLE;
  if (HAL_TIM_PWM_ConfigChannel(&htim2, &sConfigOC, TIM_CHANNEL_3) != HAL_OK)
  {
    Error_Handler();
  }
  sConfigOC.OCPolarity = TIM_OCPOLARITY_HIGH;
  if (HAL_TIM_PWM_ConfigChannel(&htim2, &sConfigOC, TIM_CHANNEL_4) != HAL_OK)
  {
    Error_Handler();
  }
  HAL_TIM_MspPostInit(&htim2);

}

static void MX_TIM3_Init(void)
{

  TIM_ClockConfigTypeDef sClockSourceConfig = {0};
  TIM_MasterConfigTypeDef sMasterConfig = {0};
  TIM_OC_InitTypeDef sConfigOC = {0};

  htim3.Instance = TIM3;
  htim3.Init.Prescaler = 500;
  htim3.Init.CounterMode = TIM_COUNTERMODE_UP;
  htim3.Init.Period = 2399;
  htim3.Init.ClockDivision = TIM_CLOCKDIVISION_DIV1;
  htim3.Init.AutoReloadPreload = TIM_AUTORELOAD_PRELOAD_ENABLE;
  if (HAL_TIM_Base_Init(&htim3) != HAL_OK)
  {
    Error_Handler();
  }
  sClockSourceConfig.ClockSource = TIM_CLOCKSOURCE_INTERNAL;
  if (HAL_TIM_ConfigClockSource(&htim3, &sClockSourceConfig) != HAL_OK)
  {
    Error_Handler();
  }
  if (HAL_TIM_PWM_Init(&htim3) != HAL_OK)
  {
    Error_Handler();
  }
  sMasterConfig.MasterOutputTrigger = TIM_TRGO_RESET;
  sMasterConfig.MasterSlaveMode = TIM_MASTERSLAVEMODE_DISABLE;
  if (HAL_TIMEx_MasterConfigSynchronization(&htim3, &sMasterConfig) != HAL_OK)
  {
    Error_Handler();
  }
  sConfigOC.OCMode = TIM_OCMODE_PWM1;
  sConfigOC.Pulse = 0;
  sConfigOC.OCPolarity = TIM_OCPOLARITY_HIGH;
  sConfigOC.OCFastMode = TIM_OCFAST_DISABLE;
  if (HAL_TIM_PWM_ConfigChannel(&htim3, &sConfigOC, TIM_CHANNEL_1) != HAL_OK)
  {
    Error_Handler();
  }
  if (HAL_TIM_PWM_ConfigChannel(&htim3, &sConfigOC, TIM_CHANNEL_2) != HAL_OK)
  {
    Error_Handler();
  }
  if (HAL_TIM_PWM_ConfigChannel(&htim3, &sConfigOC, TIM_CHANNEL_3) != HAL_OK)
  {
    Error_Handler();
  }
  if (HAL_TIM_PWM_ConfigChannel(&htim3, &sConfigOC, TIM_CHANNEL_4) != HAL_OK)
  {
    Error_Handler();
  }
  HAL_TIM_MspPostInit(&htim3);

}

static void MX_TIM4_Init(void)
{

  TIM_ClockConfigTypeDef sClockSourceConfig = {0};
  TIM_MasterConfigTypeDef sMasterConfig = {0};

  htim4.Instance = TIM4;
  htim4.Init.Prescaler = 500;
  htim4.Init.CounterMode = TIM_COUNTERMODE_UP;
  htim4.Init.Period = 2399;
  htim4.Init.ClockDivision = TIM_CLOCKDIVISION_DIV1;
  htim4.Init.AutoReloadPreload = TIM_AUTORELOAD_PRELOAD_ENABLE;
  if (HAL_TIM_Base_Init(&htim4) != HAL_OK)
  {
    Error_Handler();
  }
  sClockSourceConfig.ClockSource = TIM_CLOCKSOURCE_INTERNAL;
  if (HAL_TIM_ConfigClockSource(&htim4, &sClockSourceConfig) != HAL_OK)
  {
    Error_Handler();
  }
  sMasterConfig.MasterOutputTrigger = TIM_TRGO_RESET;
  sMasterConfig.MasterSlaveMode = TIM_MASTERSLAVEMODE_DISABLE;
  if (HAL_TIMEx_MasterConfigSynchronization(&htim4, &sMasterConfig) != HAL_OK)
  {
    Error_Handler();
  }

}

static void MX_TIM5_Init(void)
{

  TIM_ClockConfigTypeDef sClockSourceConfig = {0};
  TIM_MasterConfigTypeDef sMasterConfig = {0};

  htim5.Instance = TIM5;
  htim5.Init.Prescaler = 500;
  htim5.Init.CounterMode = TIM_COUNTERMODE_UP;
  htim5.Init.Period = 600;
  htim5.Init.ClockDivision = TIM_CLOCKDIVISION_DIV1;
  htim5.Init.AutoReloadPreload = TIM_AUTORELOAD_PRELOAD_ENABLE;
  if (HAL_TIM_Base_Init(&htim5) != HAL_OK)
  {
    Error_Handler();
  }
  sClockSourceConfig.ClockSource = TIM_CLOCKSOURCE_INTERNAL;
  if (HAL_TIM_ConfigClockSource(&htim5, &sClockSourceConfig) != HAL_OK)
  {
    Error_Handler();
  }
  sMasterConfig.MasterOutputTrigger = TIM_TRGO_RESET;
  sMasterConfig.MasterSlaveMode = TIM_MASTERSLAVEMODE_DISABLE;
  if (HAL_TIMEx_MasterConfigSynchronization(&htim5, &sMasterConfig) != HAL_OK)
  {
    Error_Handler();
  }

}

static void MX_TIM6_Init(void)
{

  TIM_MasterConfigTypeDef sMasterConfig = {0};

  htim6.Instance = TIM6;
  htim6.Init.Prescaler = 10000;
  htim6.Init.CounterMode = TIM_COUNTERMODE_UP;
  htim6.Init.Period = 6000;
  htim6.Init.AutoReloadPreload = TIM_AUTORELOAD_PRELOAD_ENABLE;
  if (HAL_TIM_Base_Init(&htim6) != HAL_OK)
  {
    Error_Handler();
  }
  sMasterConfig.MasterOutputTrigger = TIM_TRGO_RESET;
  sMasterConfig.MasterSlaveMode = TIM_MASTERSLAVEMODE_DISABLE;
  if (HAL_TIMEx_MasterConfigSynchronization(&htim6, &sMasterConfig) != HAL_OK)
  {
    Error_Handler();
  }

}

static void MX_UART4_Init(void)
{

  huart4.Instance = UART4;
  huart4.Init.BaudRate = 9600;
  huart4.Init.WordLength = UART_WORDLENGTH_8B;
  huart4.Init.StopBits = UART_STOPBITS_1;
  huart4.Init.Parity = UART_PARITY_NONE;
  huart4.Init.Mode = UART_MODE_TX_RX;
  huart4.Init.HwFlowCtl = UART_HWCONTROL_NONE;
  huart4.Init.OverSampling = UART_OVERSAMPLING_16;
  if (HAL_UART_Init(&huart4) != HAL_OK)
  {
    Error_Handler();
  }

}

static void MX_DMA_Init(void)
{

  /* DMA controller clock enable */
  __HAL_RCC_DMA2_CLK_ENABLE();
  __HAL_RCC_DMA1_CLK_ENABLE();

  /* DMA interrupt init */
  /* DMA1_Stream2_IRQn interrupt configuration */
  HAL_NVIC_SetPriority(DMA1_Stream2_IRQn, 0, 0);
  HAL_NVIC_EnableIRQ(DMA1_Stream2_IRQn);
  /* DMA2_Stream0_IRQn interrupt configuration */
  HAL_NVIC_SetPriority(DMA2_Stream0_IRQn, 0, 0);
  HAL_NVIC_EnableIRQ(DMA2_Stream0_IRQn);

}

static void MX_GPIO_Init(void)
{
  GPIO_InitTypeDef GPIO_InitStruct = {0};

  /* GPIO Ports Clock Enable */
  __HAL_RCC_GPIOH_CLK_ENABLE();
  __HAL_RCC_GPIOA_CLK_ENABLE();
  __HAL_RCC_GPIOC_CLK_ENABLE();
  __HAL_RCC_GPIOB_CLK_ENABLE();
  __HAL_RCC_GPIOD_CLK_ENABLE();

  /*Configure GPIO pin Output Level */
  HAL_GPIO_WritePin(GPIOA, LED_Brd_Pin|CS_Flash_Pin, GPIO_PIN_RESET);

  /*Configure GPIO pin Output Level */
  HAL_GPIO_WritePin(GPIOC, CS_Ext_Pin|CS_SD_Pin, GPIO_PIN_RESET);

  /*Configure GPIO pin Output Level */
  HAL_GPIO_WritePin(GPIOB, LED_Red_Pin|LED_White_Pin|CS_RF2_Pin|EN_RF2_Pin
                          |EN_RF1_Pin|CS_RF1_Pin, GPIO_PIN_RESET);

  /*Configure GPIO pins : LED_Brd_Pin CS_Flash_Pin */
  GPIO_InitStruct.Pin = LED_Brd_Pin|CS_Flash_Pin;
  GPIO_InitStruct.Mode = GPIO_MODE_OUTPUT_PP;
  GPIO_InitStruct.Pull = GPIO_NOPULL;
  GPIO_InitStruct.Speed = GPIO_SPEED_FREQ_LOW;
  HAL_GPIO_Init(GPIOA, &GPIO_InitStruct);

  /*Configure GPIO pins : CS_Ext_Pin CS_SD_Pin */
  GPIO_InitStruct.Pin = CS_Ext_Pin|CS_SD_Pin;
  GPIO_InitStruct.Mode = GPIO_MODE_OUTPUT_PP;
  GPIO_InitStruct.Pull = GPIO_NOPULL;
  GPIO_InitStruct.Speed = GPIO_SPEED_FREQ_LOW;
  HAL_GPIO_Init(GPIOC, &GPIO_InitStruct);

  /*Configure GPIO pins : LED_Red_Pin LED_White_Pin CS_RF2_Pin EN_RF2_Pin
                           EN_RF1_Pin CS_RF1_Pin */
  GPIO_InitStruct.Pin = LED_Red_Pin|LED_White_Pin|CS_RF2_Pin|EN_RF2_Pin
                          |EN_RF1_Pin|CS_RF1_Pin;
  GPIO_InitStruct.Mode = GPIO_MODE_OUTPUT_PP;
  GPIO_InitStruct.Pull = GPIO_NOPULL;
  GPIO_InitStruct.Speed = GPIO_SPEED_FREQ_LOW;
  HAL_GPIO_Init(GPIOB, &GPIO_InitStruct);

  /*Configure GPIO pin : RF_IRQ2_Pin */
  GPIO_InitStruct.Pin = RF_IRQ2_Pin;
  GPIO_InitStruct.Mode = GPIO_MODE_IT_RISING;
  GPIO_InitStruct.Pull = GPIO_NOPULL;
  HAL_GPIO_Init(RF_IRQ2_GPIO_Port, &GPIO_InitStruct);

  /*Configure GPIO pin : RF_IRQ1_Pin */
  GPIO_InitStruct.Pin = RF_IRQ1_Pin;
  GPIO_InitStruct.Mode = GPIO_MODE_IT_RISING;
  GPIO_InitStruct.Pull = GPIO_NOPULL;
  HAL_GPIO_Init(RF_IRQ1_GPIO_Port, &GPIO_InitStruct);

  /* EXTI interrupt init*/
  HAL_NVIC_SetPriority(EXTI9_5_IRQn, 4, 0);
  HAL_NVIC_EnableIRQ(EXTI9_5_IRQn);

}

/* USER CODE BEGIN 4 */

/*
 * UART
 */
void HAL_UART_RxCpltCallback(UART_HandleTypeDef *huart)
{
	HAL_UART_Receive_DMA(&huart4, USART4_GPSRX, 426); // enable USART Receive again
	NewGPSData = 1;		// set flag that new data has arrived
}

void HAL_GPIO_EXTI_Callback(uint16_t GPIO_Pin)
{
    if(GPIO_Pin == RF_IRQ2_Pin)
    {
    	HAL_GPIO_TogglePin(GPIOA, GPIO_PIN_8);
    }
}

/*
 * Enabling servos for TVC stabilization
 */
uint8_t TVCServoEnable()
{
	uint8_t status = 0;
	TVCServoEnableFlag = !TVCServoEnableFlag;

	status += HAL_TIM_PWM_Start(&htim3, TIM_CHANNEL_1);
	status += HAL_TIM_PWM_Start(&htim3, TIM_CHANNEL_2);
	status += HAL_TIM_PWM_Start(&htim3, TIM_CHANNEL_3);
	status += HAL_TIM_PWM_Start(&htim3, TIM_CHANNEL_4);

	return status;
}

/*
 * Disabling servos for TVC stabilization
 */
uint8_t TVCServoDisable()
{
	uint8_t status = 0;
	EDFEnableFlag = !EDFEnableFlag;

	status += HAL_TIM_PWM_Stop(&htim3, TIM_CHANNEL_1);
	status += HAL_TIM_PWM_Stop(&htim3, TIM_CHANNEL_2);
	status += HAL_TIM_PWM_Stop(&htim3, TIM_CHANNEL_3);
	status += HAL_TIM_PWM_Stop(&htim3, TIM_CHANNEL_4);

	return status;
}

/*
 * Enabling EDF
 */
uint8_t EDFEnable()
{
	uint8_t status = 0;

	status += HAL_TIM_PWM_Start(&htim2, TIM_CHANNEL_4);

	return status;
}

/*
 * Disabling EDF
 */
uint8_t EDFDisable()
{
	uint8_t status = 0;

	status += HAL_TIM_PWM_Stop(&htim2, TIM_CHANNEL_4);

	return status;
}

void StatusLED(uint8_t Status)
{
	// OFF: R=2400, G=0, B=0
	// ON (bright): 500
	// ON (medium): 1000

	switch(Status){
	case 0: // STARTUP (red)
		TIM1->CCR2 = 0; // LED-RGB (blue)
		TIM1->CCR3 = 0; // LED-RGB (green)
		TIM2->CCR3 = 2400; // LED-RGB (red)
		break;

	case 1: // IDLE - no RF connection (blue)
		TIM1->CCR2 = 1000; // LED-RGB (blue)
		TIM1->CCR3 = 0; // LED-RGB (green)
		TIM2->CCR3 = 0; // LED-RGB (red)
		break;

	case 2: // IDLE - RF connected (green)
		TIM1->CCR2 = 0; // LED-RGB (blue)
		TIM1->CCR3 = 500; // LED-RGB (green)
		TIM2->CCR3 = 0; // LED-RGB (red)
		break;

	case 3: // ERROR (red + brd led on)
		TIM1->CCR2 = 0; // LED-RGB (blue)
		TIM1->CCR3 = 0; // LED-RGB (green)
		TIM2->CCR3 = 1000; // LED-RGB (red)
		break;

	case 4: // ARM (all - pink)
		TIM1->CCR2 = 100; // LED-RGB (blue)
		TIM1->CCR3 = 100; // LED-RGB (green)
		TIM2->CCR3 = 100; // LED-RGB (red)
		break;

	case 5: // FLY ()
		TIM1->CCR2 = 500; // LED-RGB (blue)
		TIM1->CCR3 = 500; // LED-RGB (green)
		TIM2->CCR3 = 0; // LED-RGB (red)
		break;

	case 6: // FLY OVER (green)
		TIM1->CCR2 = 0; // LED-RGB (blue)
		TIM1->CCR3 = 500; // LED-RGB (green)
		TIM2->CCR3 = 0; // LED-RGB (red)
		break;

	case 7: // FLY OVER (green)
		TIM1->CCR2 = RGB_Blue; // LED-RGB (blue)
		TIM1->CCR3 = RGB_Green; // LED-RGB (green)
		TIM2->CCR3 = RGB_Red; // LED-RGB (red)
		break;

	default: // DEFAULT STATE
		TIM1->CCR2 = 500; // LED-RGB (blue)
		TIM1->CCR3 = 500; // LED-RGB (green)
		TIM2->CCR3 = 500; // LED-RGB (red)
		break;
	}
}

/*
 * Reading voltage of main board battery
 */
uint16_t ADC_Read_Main_Battery()
{
	uint16_t adcVal = ADC_BAT_Val[1];

	float temp = ((float)adcVal * 3.3) / 4095;

	float voltage = (((100000+10000)/10000) * temp);

	return (uint16_t)(voltage*100);
}

/*
 * Reading voltage of EDF battery
 */
uint16_t ADC_Read_EDF_Battery()
{
	uint16_t adcVal = ADC_BAT_Val[0];

	float temp = ((float)adcVal * 3.3) / 4095;

	float voltage = (((100000+10000)/10000) * temp);

	return (uint16_t)(voltage*100);
}

/*
 * DMA data from ADC ready
 */
void HAL_ADC_ConvCpltCallback(ADC_HandleTypeDef* hadc){
	ADC_DMA_DataRdy = 1;
}

/* Regulator loop interrupt - 50Hz
 * 	- Read sensors
 * 	- Calculate TVC
 * 	- Regulate servos
 * 	- send over RF
 * 	- save to flash
 *
 */
void HAL_TIM_PeriodElapsedCallback(TIM_HandleTypeDef *htim)
{

	/* TIMER 4 - 50Hz */

	if (htim->Instance == TIM4){

		Reg50HzLoopEN = 1;
		// Idle - single blink
		if (DroneStatusLocal != STATUS_STARTUP && DroneStatusLocal != STATUS_ERROR && DroneStatusLocal != STATUS_FLY && CALIBRATION == 0)
		{
			if (LED_blink_cnt_ON < 50) // LED OFF
			{
				LED_blink_cnt_ON++;
			}
			else
			{
				if (LED_blink_cnt_OFF < 10) // LED ON for short time
				{
					if (LED_blink_cnt_OFF == 0)
					{
						HAL_GPIO_WritePin(LED_White_GPIO_Port, LED_White_Pin, GPIO_PIN_SET);
					}
					LED_blink_cnt_OFF++;
				}
				else
				{
					HAL_GPIO_WritePin(LED_White_GPIO_Port, LED_White_Pin, GPIO_PIN_RESET);
					LED_blink_cnt_OFF = 0;
					LED_blink_cnt_ON = 0;
				}
			}
		}

		// Fly - dual blink
		if (DroneStatusLocal != STATUS_STARTUP && DroneStatusLocal != STATUS_ERROR && DroneStatusLocal == STATUS_FLY && CALIBRATION == 0)
		{
			if (LED_blink_cnt_ON < 50) // LED OFF
			{
				LED_blink_cnt_ON++;
			}
			else
			{
				if (LED_blink_cnt_OFF < 10) // LED ON for short time
				{
					if (LED_blink_cnt_OFF <3)
					{
						HAL_GPIO_WritePin(LED_White_GPIO_Port, LED_White_Pin, GPIO_PIN_SET);
					}

					if (LED_blink_cnt_OFF >=3 && LED_blink_cnt_OFF <7)
					{
						HAL_GPIO_WritePin(LED_White_GPIO_Port, LED_White_Pin, GPIO_PIN_RESET);
					}

					if (LED_blink_cnt_OFF >=7)
					{
						HAL_GPIO_WritePin(LED_White_GPIO_Port, LED_White_Pin, GPIO_PIN_SET);
					}

					LED_blink_cnt_OFF++;
				}
				else
				{
					HAL_GPIO_WritePin(LED_White_GPIO_Port, LED_White_Pin, GPIO_PIN_RESET);
					LED_blink_cnt_OFF = 0;
					LED_blink_cnt_ON = 0;
				}
			}
		}

		/* GYRO Calibration */

		if (GyroCalibTrig == 0 && CALIBRATION == 1)
		{
			if (LED_blink_cnt_ON >= 5)
			{
				LED_blink_cnt_ON = 0;
				GyroCalibTrig = 1;
			}

			LED_blink_cnt_ON++;
		}
	}

	/* TIMER 5 - 200Hz */

	if (htim->Instance == TIM5)
	{
		Reg200HzLoopEN = 1;

		/* RGB Cycling */
		// Red
		if (RGB_RedMax == 0)
		{
			RGB_Red += 1;
			if (RGB_Red == 1000) RGB_RedMax = 1;
		}

		if (RGB_RedMax == 1)
		{
			RGB_Red -= 1;
			if (RGB_Red == 0) RGB_RedMax = 0;
		}

		// Green
		if (RGB_GreenMax == 0 || (RGB_Green == 300 && RGB_GreenMax == 0 ))
		{
			RGB_Green += 1;
			if (RGB_Green == 900) RGB_GreenMax = 1;
		}

		if (RGB_GreenMax == 1)
		{
			RGB_Green -= 1;
			if (RGB_Green == 0) RGB_GreenMax = 0;
		}

		// Blue
		if (RGB_BlueMax == 0 || (RGB_Blue == 600 && RGB_BlueMax == 0 ))
		{
			RGB_Blue += 1;
			if (RGB_Blue == 900) RGB_BlueMax = 1;
		}

		if (RGB_BlueMax == 1)
		{
			RGB_Blue -= 1;
			if (RGB_Blue == 0) RGB_BlueMax = 0;
		}

	}

	/* TIMER 6 - 1Hz */
	if (htim->Instance == TIM6){
		Reg1HzLoopEN = 1;
	}
}

/* USER CODE END 4 */

void Error_Handler(void)
{
  __disable_irq();
  while (1)
  {
  }
}
